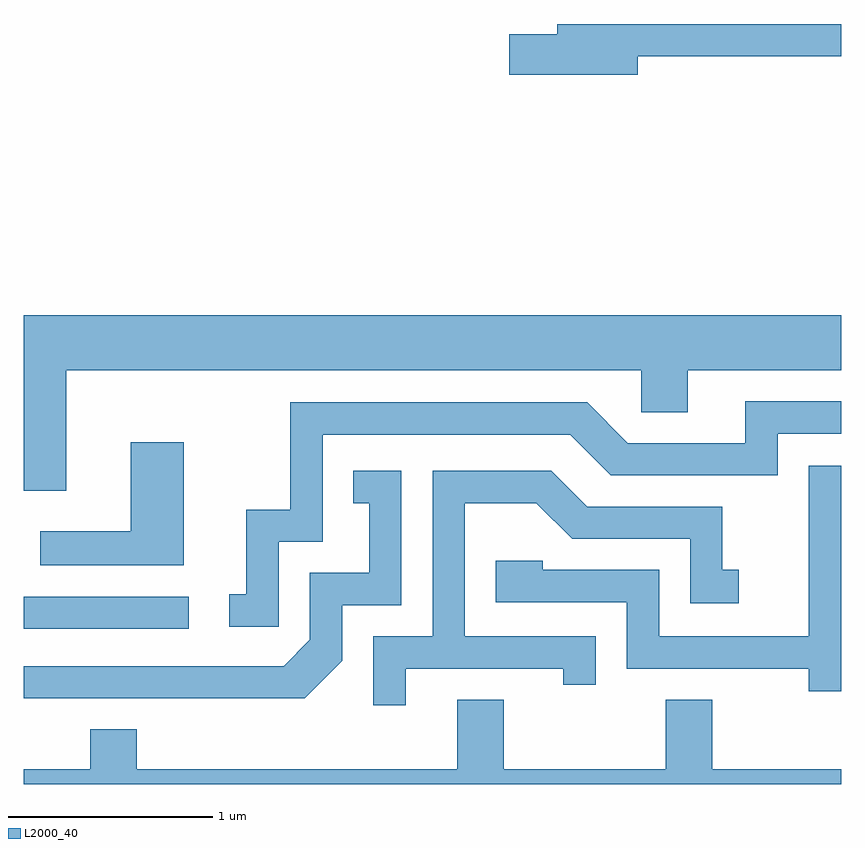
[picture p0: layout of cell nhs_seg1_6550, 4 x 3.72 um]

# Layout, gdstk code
import gdstk
lib = gdstk.Library(unit=1e-6, precision=1e-09)
def R(c, l, rs):  # rectangles x0, y0, x1, y1
    for r in rs: c.add(gdstk.rectangle(r[:2], r[2:], *l))
def P(c, l, *ps):  # polygons
    for p in ps: c.add(gdstk.Polygon(p, *l))
L2000_40 = (2000, 40)

nhs_seg1_6550 = lib.new_cell('nhs_seg1_6550')
R(nhs_seg1_6550, L2000_40, [(381.611,960.471,382.418,960.629)])
P(nhs_seg1_6550, L2000_40, [(384.614,963.271),(385.611,963.271),(385.611,963.429),(384.221,963.429),(384.221,963.379),(383.986,963.379),(383.986,963.181),(384.614,963.181)],
  [(381.819,961.736),(384.631,961.736),(384.631,961.531),(384.859,961.531),(384.859,961.736),(385.611,961.736),(385.611,962.004),(381.611,962.004),(381.611,961.146),(381.819,961.146)],
  [(382.859,960.896),(383.074,960.896),(383.074,961.421),(384.284,961.421),(384.484,961.221),(385.299,961.221),(385.299,961.426),(385.611,961.426),(385.611,961.584),(385.141,961.584),(385.141,961.379),(384.567,961.379),(384.367,961.579),(382.916,961.579),(382.916,961.054),(382.701,961.054),(382.701,960.639),(382.618,960.639),(382.618,960.481),(382.859,960.481)],
  [(382.394,961.384),(382.136,961.384),(382.136,960.949),(381.693,960.949),(381.693,960.781),(382.394,960.781)],
  [(385.611,960.324),(385.609,960.324),(385.609,961.091),(385.611,961.091),(385.611,961.269),(385.451,961.269),(385.451,960.434),(384.719,960.434),(384.719,960.759),(384.149,960.759),(384.149,960.804),(383.921,960.804),(383.921,960.601),(384.561,960.601),(384.561,960.276),(385.451,960.276),(385.451,960.166),(385.611,960.166)],
  [(383.479,960.276),(384.251,960.276),(384.251,960.198),(384.409,960.198),(384.409,960.434),(383.769,960.434),(383.769,961.086),(384.119,961.086),(384.294,960.911),(384.871,960.911),(384.871,960.596),(385.108,960.596),(385.108,960.759),(385.029,960.759),(385.029,961.069),(384.367,961.069),(384.192,961.244),(383.611,961.244),(383.611,960.434),(383.321,960.434),(383.321,960.098),(383.479,960.098)],
  [(383.169,960.314),(383.169,960.586),(383.459,960.586),(383.459,961.244),(383.223,961.244),(383.223,961.086),(383.301,961.086),(383.301,960.744),(383.011,960.744),(383.011,960.417),(382.884,960.289),(381.611,960.289),(381.611,960.131),(382.987,960.131)],
  [(385.611,959.784),(384.979,959.784),(384.979,960.124),(384.751,960.124),(384.751,959.784),(383.959,959.784),(383.959,960.124),(383.731,960.124),(383.731,959.784),(382.164,959.784),(382.164,959.979),(381.936,959.979),(381.936,959.784),(381.611,959.784),(381.611,959.712),(385.611,959.712)])

lib.write_gds('nhs_seg1_6550.gds')
